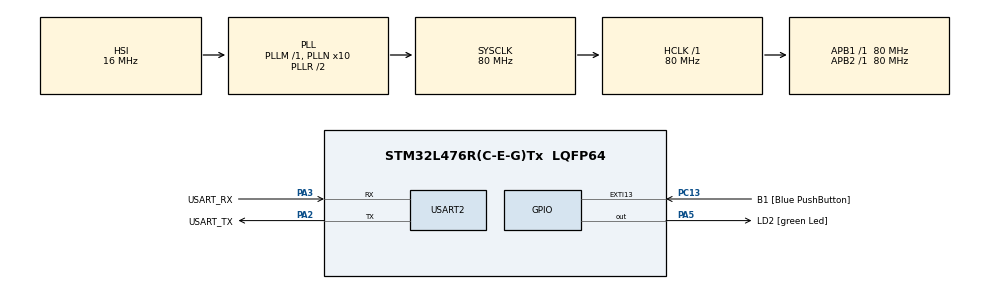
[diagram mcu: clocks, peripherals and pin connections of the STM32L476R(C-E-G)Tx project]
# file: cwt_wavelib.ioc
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Dma.Request0=USART2_RX
Dma.USART2_RX.0.Direction=DMA_PERIPH_TO_MEMORY
Dma.USART2_RX.0.Instance=DMA1_Channel6
Dma.USART2_RX.0.MemDataAlignment=DMA_MDATAALIGN_BYTE
Dma.USART2_RX.0.MemInc=DMA_MINC_ENABLE
Dma.USART2_RX.0.Mode=DMA_NORMAL
Dma.USART2_RX.0.PeriphDataAlignment=DMA_PDATAALIGN_BYTE
Dma.USART2_RX.0.PeriphInc=DMA_PINC_DISABLE
Dma.USART2_RX.0.Priority=DMA_PRIORITY_HIGH
Mcu.Family=STM32L4
Mcu.Name=STM32L476R(C-E-G)Tx
Mcu.Package=LQFP64
NVIC.DMA1_Channel6_IRQn=true\:0\:0\:false\:false\:true\:false\:true\:true
NVIC.PriorityGroup=NVIC_PRIORITYGROUP_4
NVIC.USART2_IRQn=true\:0\:0\:false\:false\:true\:true\:true\:true
PA13\ (JTMS-SWDIO).GPIO_Label=TMS
PA13\ (JTMS-SWDIO).Mode=Serial_Wire
PA13\ (JTMS-SWDIO).Signal=SYS_JTMS-SWDIO
PA14\ (JTCK-SWCLK).GPIO_Label=TCK
PA14\ (JTCK-SWCLK).Mode=Serial_Wire
PA14\ (JTCK-SWCLK).Signal=SYS_JTCK-SWCLK
PA2.GPIO_Label=USART_TX
PA2.GPIO_Mode=GPIO_MODE_AF_PP
PA2.GPIO_PuPd=GPIO_NOPULL
PA2.GPIO_Speed=GPIO_SPEED_FREQ_VERY_HIGH
PA2.Mode=Asynchronous
PA2.Signal=USART2_TX
PA3.GPIO_Label=USART_RX
PA3.GPIO_Mode=GPIO_MODE_AF_PP
PA3.GPIO_PuPd=GPIO_NOPULL
PA3.GPIO_Speed=GPIO_SPEED_FREQ_VERY_HIGH
PA3.Mode=Asynchronous
PA3.Signal=USART2_RX
PA5.GPIO_Label=LD2 [green Led]
PA5.GPIO_ModeDefaultOutputPP=GPIO_MODE_OUTPUT_PP
PA5.GPIO_PuPd=GPIO_NOPULL
PA5.GPIO_Speed=GPIO_SPEED_FREQ_LOW
PA5.Signal=GPIO_Output
PB3\ (JTDO-TRACESWO).GPIO_Label=SWO
PB3\ (JTDO-TRACESWO).Signal=SYS_JTDO-SWO
PC13.GPIO_Label=B1 [Blue PushButton]
PC13.GPIO_ModeDefaultEXTI=GPIO_MODE_IT_FALLING
PC13.GPIO_PuPd=GPIO_NOPULL
PC13.Signal=GPXTI13
PC14-OSC32_IN\ (PC14).Mode=LSE-External-Oscillator
PC14-OSC32_IN\ (PC14).Signal=RCC_OSC32_IN
PC15-OSC32_OUT\ (PC15).Mode=LSE-External-Oscillator
PC15-OSC32_OUT\ (PC15).Signal=RCC_OSC32_OUT
PH0-OSC_IN\ (PH0).Signal=RCC_OSC_IN
PH1-OSC_OUT\ (PH1).Signal=RCC_OSC_OUT
ProjectManager.HeapSize=0x200
ProjectManager.StackSize=0x400
ProjectManager.TargetToolchain=STM32CubeIDE
RCC.ADCFreq_Value=64000000
RCC.AHBFreq_Value=80000000
RCC.APB1Freq_Value=80000000
RCC.APB1TimFreq_Value=80000000
RCC.APB2Freq_Value=80000000
RCC.APB2TimFreq_Value=80000000
RCC.CortexFreq_Value=80000000
RCC.HCLKFreq_Value=80000000
RCC.HSE_VALUE=8000000
RCC.HSI_VALUE=16000000
RCC.MSI_VALUE=4000000
RCC.PLLN=10
RCC.PLLSourceVirtual=RCC_PLLSOURCE_HSI
RCC.PREFETCH_ENABLE=1
RCC.SYSCLKFreq_VALUE=80000000
RCC.SYSCLKSource=RCC_SYSCLKSOURCE_PLLCLK
RCC.USBFreq_Value=64000000
RCC.VCOOutputFreq_Value=160000000
USART2.VirtualMode-Asynchronous=VM_ASYNC
board=NUCLEO-L476RG

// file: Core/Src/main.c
/* USER CODE BEGIN Header */
/**
  ******************************************************************************
  * @file           : main.c
  * @brief          : Main program body
  ******************************************************************************
  * @attention
  *
  * Copyright (c) 2026 STMicroelectronics.
  * All rights reserved.
  *
  * This software is licensed under terms that can be found in the LICENSE file
  * in the root directory of this software component.
  * If no LICENSE file comes with this software, it is provided AS-IS.
  *
  ******************************************************************************
  */
/* USER CODE END Header */
#include "main.h"

/* USER CODE BEGIN Includes */
#include <string.h>
#include <stdbool.h>
#include <math.h>
#include "cwt.h"
/* USER CODE END Includes */

/* USER CODE BEGIN PD */
#define FS_HZ               16000
#define N_SAMPLES           256   // Tamano de la ventana a procesar
#define J_TOT               16    // Numero total de escalas
#define DT                  (1.0f / (float)FS_HZ)

#define UART_DMA_RX_BYTES   (N_SAMPLES * 2) // 2 bytes por int16_t
/* USER CODE END PD */

UART_HandleTypeDef huart2;
DMA_HandleTypeDef hdma_usart2_rx;

/* USER CODE BEGIN PV */
static int16_t pcm16_rx[N_SAMPLES]; // Buffer de entrada UART
static volatile bool frameReady = false;

// Variables CWT
static float yInput[N_SAMPLES];
static float cwtWave[2 * N_SAMPLES * J_TOT]; // Matriz compleja de salida
static float cwtScale[J_TOT];
static float cwtPeriod[J_TOT];
static float cwtCoi[N_SAMPLES];

// Matriz final basada en escalas para enviar a MATLAB
static float scaleMag[J_TOT][N_SAMPLES];
/* USER CODE END PV */

void SystemClock_Config(void);
static void MX_GPIO_Init(void);
static void MX_DMA_Init(void);
static void MX_USART2_UART_Init(void);
/* USER CODE BEGIN PFP */
void AudioDSP_Init(void);
void AudioDSP_Task(void);
static void StartUartDmaReception(void);
static void ProcessCWT_F32(void);
static void SendScaleMatrix(void);
static void InitScales(void);
/* USER CODE END PFP */

int main(void)
{

  /* MCU Configuration--------------------------------------------------------*/

  /* Reset of all peripherals, Initializes the Flash interface and the Systick. */
  HAL_Init();

  /* Configure the system clock */
  SystemClock_Config();

  /* Initialize all configured peripherals */
  MX_GPIO_Init();
  MX_DMA_Init();
  MX_USART2_UART_Init();
  /* USER CODE BEGIN 2 */
  AudioDSP_Init();
  /* USER CODE END 2 */

  /* Infinite loop */
  while (1)
  {

    /* USER CODE BEGIN 3 */
	  AudioDSP_Task();
  }
  /* USER CODE END 3 */
}

void SystemClock_Config(void)
{
  RCC_OscInitTypeDef RCC_OscInitStruct = {0};
  RCC_ClkInitTypeDef RCC_ClkInitStruct = {0};

  /** Configure the main internal regulator output voltage
  */
  if (HAL_PWREx_ControlVoltageScaling(PWR_REGULATOR_VOLTAGE_SCALE1) != HAL_OK)
  {
    Error_Handler();
  }

  /** Initializes the RCC Oscillators according to the specified parameters
  * in the RCC_OscInitTypeDef structure.
  */
  RCC_OscInitStruct.OscillatorType = RCC_OSCILLATORTYPE_HSI;
  RCC_OscInitStruct.HSIState = RCC_HSI_ON;
  RCC_OscInitStruct.HSICalibrationValue = RCC_HSICALIBRATION_DEFAULT;
  RCC_OscInitStruct.PLL.PLLState = RCC_PLL_ON;
  RCC_OscInitStruct.PLL.PLLSource = RCC_PLLSOURCE_HSI;
  RCC_OscInitStruct.PLL.PLLM = 1;
  RCC_OscInitStruct.PLL.PLLN = 10;
  RCC_OscInitStruct.PLL.PLLP = RCC_PLLP_DIV7;
  RCC_OscInitStruct.PLL.PLLQ = RCC_PLLQ_DIV2;
  RCC_OscInitStruct.PLL.PLLR = RCC_PLLR_DIV2;
  if (HAL_RCC_OscConfig(&RCC_OscInitStruct) != HAL_OK)
  {
    Error_Handler();
  }

  /** Initializes the CPU, AHB and APB buses clocks
  */
  RCC_ClkInitStruct.ClockType = RCC_CLOCKTYPE_HCLK|RCC_CLOCKTYPE_SYSCLK
                              |RCC_CLOCKTYPE_PCLK1|RCC_CLOCKTYPE_PCLK2;
  RCC_ClkInitStruct.SYSCLKSource = RCC_SYSCLKSOURCE_PLLCLK;
  RCC_ClkInitStruct.AHBCLKDivider = RCC_SYSCLK_DIV1;
  RCC_ClkInitStruct.APB1CLKDivider = RCC_HCLK_DIV1;
  RCC_ClkInitStruct.APB2CLKDivider = RCC_HCLK_DIV1;

  if (HAL_RCC_ClockConfig(&RCC_ClkInitStruct, FLASH_LATENCY_4) != HAL_OK)
  {
    Error_Handler();
  }
}

static void MX_USART2_UART_Init(void)
{

  huart2.Instance = USART2;
  huart2.Init.BaudRate = 115200;
  huart2.Init.WordLength = UART_WORDLENGTH_8B;
  huart2.Init.StopBits = UART_STOPBITS_1;
  huart2.Init.Parity = UART_PARITY_NONE;
  huart2.Init.Mode = UART_MODE_TX_RX;
  huart2.Init.HwFlowCtl = UART_HWCONTROL_NONE;
  huart2.Init.OverSampling = UART_OVERSAMPLING_16;
  huart2.Init.OneBitSampling = UART_ONE_BIT_SAMPLE_DISABLE;
  huart2.AdvancedInit.AdvFeatureInit = UART_ADVFEATURE_NO_INIT;
  if (HAL_UART_Init(&huart2) != HAL_OK)
  {
    Error_Handler();
  }

}

static void MX_DMA_Init(void)
{

  /* DMA controller clock enable */
  __HAL_RCC_DMA1_CLK_ENABLE();

  /* DMA interrupt init */
  /* DMA1_Channel6_IRQn interrupt configuration */
  HAL_NVIC_SetPriority(DMA1_Channel6_IRQn, 0, 0);
  HAL_NVIC_EnableIRQ(DMA1_Channel6_IRQn);

}

static void MX_GPIO_Init(void)
{
  GPIO_InitTypeDef GPIO_InitStruct = {0};

  /* GPIO Ports Clock Enable */
  __HAL_RCC_GPIOC_CLK_ENABLE();
  __HAL_RCC_GPIOH_CLK_ENABLE();
  __HAL_RCC_GPIOA_CLK_ENABLE();
  __HAL_RCC_GPIOB_CLK_ENABLE();

  /*Configure GPIO pin Output Level */
  HAL_GPIO_WritePin(LD2_GPIO_Port, LD2_Pin, GPIO_PIN_RESET);

  /*Configure GPIO pin : B1_Pin */
  GPIO_InitStruct.Pin = B1_Pin;
  GPIO_InitStruct.Mode = GPIO_MODE_IT_FALLING;
  GPIO_InitStruct.Pull = GPIO_NOPULL;
  HAL_GPIO_Init(B1_GPIO_Port, &GPIO_InitStruct);

  /*Configure GPIO pin : LD2_Pin */
  GPIO_InitStruct.Pin = LD2_Pin;
  GPIO_InitStruct.Mode = GPIO_MODE_OUTPUT_PP;
  GPIO_InitStruct.Pull = GPIO_NOPULL;
  GPIO_InitStruct.Speed = GPIO_SPEED_FREQ_LOW;
  HAL_GPIO_Init(LD2_GPIO_Port, &GPIO_InitStruct);

}

/* USER CODE BEGIN 4 */
void AudioDSP_Init(void)
{
    memset((void*)pcm16_rx, 0, sizeof(pcm16_rx));
    memset((void*)scaleMag, 0, sizeof(scaleMag));

    InitScales();
    StartUartDmaReception();
}

static void InitScales(void)
{
    float s0 = 2.0f * DT; // Escala base
    float dj = 0.25f;     // Espaciado entre escalas

    for (int i = 0; i < J_TOT; ++i) {
        cwtScale[i] = s0 * powf(2.0f, (float)(i) * dj);
    }
}

static void StartUartDmaReception(void)
{
	HAL_UART_Receive_DMA(&huart2, (uint8_t*)pcm16_rx, UART_DMA_RX_BYTES);
}

void HAL_UART_RxCpltCallback(UART_HandleTypeDef *huart)
{
    if (huart->Instance == USART2)
    {
        frameReady = true;
    }
}

void AudioDSP_Task(void)
{
    if (frameReady)
    {
        frameReady = false;
        ProcessCWT_F32();
        SendScaleMatrix();

        StartUartDmaReception();
    }
}

static void ProcessCWT_F32(void)
{
    // int16 a float
    for (int i = 0; i < N_SAMPLES; i++) {
        yInput[i] = (float)pcm16_rx[i];
    }

    cwavelet(yInput, N_SAMPLES, DT, 0, 6.0f, cwtScale[0], 0.25f, J_TOT, N_SAMPLES,
             cwtWave, cwtScale, cwtPeriod, cwtCoi);

    // magnitud basada en las escalas
    for (int j = 0; j < J_TOT; j++) {
        int iter = 2 * j * N_SAMPLES;
        for (int i = 0; i < N_SAMPLES; i++) {
            float re = cwtWave[iter + 2 * i];
            float im = cwtWave[iter + 2 * i + 1];
            scaleMag[j][i] = sqrtf(re * re + im * im);
        }
    }
}

static void SendScaleMatrix(void)
{
    const uint8_t syncHeader[4] = {255, 170, 255, 170}; // Header de sincronizacion

    HAL_UART_Transmit(&huart2, (uint8_t*)syncHeader, sizeof(syncHeader), HAL_MAX_DELAY);
    HAL_UART_Transmit(&huart2, (uint8_t*)scaleMag, sizeof(scaleMag), HAL_MAX_DELAY);
}

void HAL_UART_ErrorCallback(UART_HandleTypeDef *huart)
{
    if (huart->Instance == USART2)
    {
        __HAL_UART_CLEAR_OREFLAG(huart);
        StartUartDmaReception();
    }
}
/* USER CODE END 4 */

void Error_Handler(void)
{
  __disable_irq();
  while (1)
  {
  }
}
